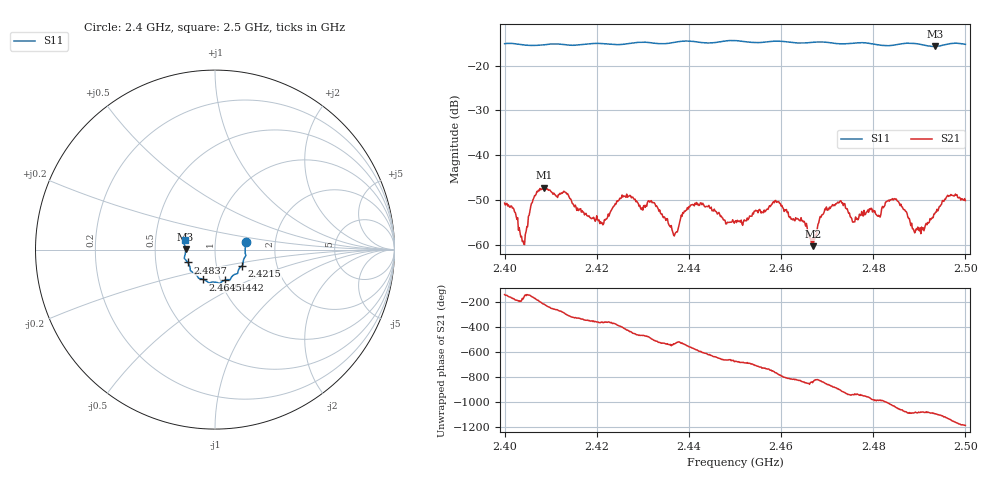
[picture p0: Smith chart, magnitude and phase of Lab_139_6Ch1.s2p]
# Hz S RI R 50
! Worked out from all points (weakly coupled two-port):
!   601 points, 2.4 GHz to 2.5 GHz, reference 50 ohm
!   highest |S21| = -47.24 dB at 2.4085 GHz (marker M1); lowest = -60.3 dB at 2.467 GHz (marker M2)
!   lowest |S11| = -15.7 dB at 2.4933 GHz (marker M3), VSWR 1.39, Z = 35.9 + j0.101 ohm
!   |S11| at or under -10 dB: start of sweep to end of sweep
!   S12 and S22 are empty: the file has one direction only
!   S11 on the Smith chart (normalised r, x): 2.4 GHz: 1.41, +0.12; 2.4215 GHz: 1.33, -0.25; 2.4442 GHz: 1.05, -0.37; 2.4645 GHz: 0.83, -0.29; 2.4837 GHz: 0.73, -0.11; 2.5 GHz: 0.71, +0.07
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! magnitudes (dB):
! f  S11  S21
! 2.4 GHz  -15.1  -50.7
! 2.404 GHz  -15.4  -59.1
! 2.4085 GHz  -15.4  -47.2
! 2.4167 GHz  -15.3  -52.7
! 2.4215 GHz  -15.1  -55.3
! 2.426 GHz  -15.2  -49.2
! 2.4333 GHz  -15.1  -52.0
! 2.437 GHz  -14.8  -57.5
! 2.4402 GHz  -14.5  -51.5
! 2.4442 GHz  -15.0  -51.4
! 2.45 GHz  -14.4  -54.8
! 2.4588 GHz  -14.5  -50.1
! 2.4645 GHz  -15.0  -54.6
! 2.4667 GHz  -14.8  -60.1
! 2.467 GHz  -14.8  -60.3
! 2.4725 GHz  -15.1  -50.6
! 2.4758 GHz  -15.0  -54.9
! 2.4833 GHz  -15.6  -50.0
! 2.4837 GHz  -15.5  -49.9
! 2.489 GHz  -15.1  -57.3
! 2.4933 GHz  -15.7  -53.1
! 2.5 GHz  -15.3  -50.1
